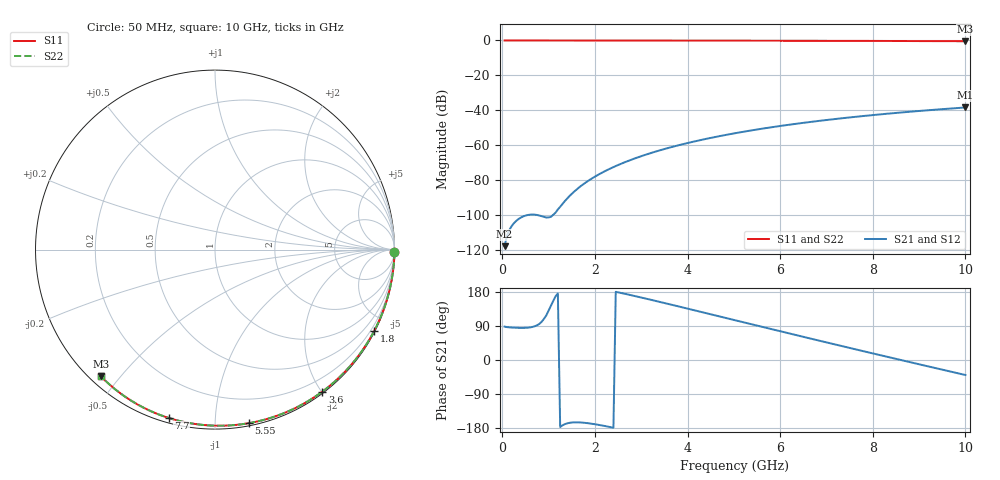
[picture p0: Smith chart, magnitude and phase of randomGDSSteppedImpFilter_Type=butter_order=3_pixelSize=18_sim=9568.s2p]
! freq	dB(S11)	phase(S11)	dB(S12)	phase(S12)
!  dB(S21)	phase(S21)	dB(S22)	phase(S22)
!S-par simulation data
#  GHz  S  DB  R 50
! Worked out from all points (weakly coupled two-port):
!   200 points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, 50 MHz to 10 GHz, reference 50 ohm
!   highest |S21| = -38.39 dB at 10 GHz (marker M1); lowest = -117.8 dB at 50 MHz (marker M2)
!   lowest |S11| = -0.4 dB at 10 GHz (marker M3), VSWR 39.00, Z = 1.54 - j22.3 ohm
!   |S11| at or under -10 dB: nowhere
!   |S22| runs from -0.4 to 0.0 dB; largest |S21 - S12| = 0
!   S11 on the Smith chart (normalised r, x): 50 MHz: open; 1.8 GHz: 0.04, -4.16; 3.6 GHz: 0.02, -2.01; 5.55 GHz: 0.02, -1.21; 7.7 GHz: 0.02, -0.76; 10 GHz: 0.03, -0.45
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0.05  -0.00 -0.8  -117.83 88.0  -117.83 88.0  -0.00 -0.8
0.9  -0.02 -13.6  -101.10 108.7  -101.10 108.7  -0.02 -13.6
1.75  -0.03 -26.3  -82.33 -165.4  -82.33 -165.4  -0.03 -26.3
1.8  -0.03 -27.0  -81.38 -166.1  -81.38 -166.1  -0.03 -27.0
1.85  -0.04 -27.8  -80.49 -166.8  -80.49 -166.8  -0.04 -27.8
1.9  -0.04 -28.5  -79.62 -167.6  -79.62 -167.6  -0.04 -28.5
2.05  -0.04 -30.7  -77.23 -170.5  -77.23 -170.5  -0.04 -30.7
2.25  -0.04 -33.6  -74.42 -175.0  -74.42 -175.0  -0.04 -33.6
2.45  -0.05 -36.5  -71.93 180.0  -71.93 180.0  -0.05 -36.5
2.65  -0.05 -39.4  -69.70 174.7  -69.70 174.7  -0.05 -39.4
3  -0.06 -44.4  -66.28 164.9  -66.28 164.9  -0.06 -44.4
3.4  -0.07 -50.1  -62.94 153.3  -62.94 153.3  -0.07 -50.1
3.6  -0.07 -52.9  -61.45 147.5  -61.45 147.5  -0.07 -52.9
4.3  -0.09 -62.5  -56.94 126.7  -56.94 126.7  -0.09 -62.5
5.05  -0.11 -72.5  -53.01 104.2  -53.01 104.2  -0.11 -72.5
5.55  -0.13 -79.0  -50.78 89.3  -50.78 89.3  -0.13 -79.0
6.1  -0.15 -85.9  -48.61 73.0  -48.61 73.0  -0.15 -85.9
6.7  -0.18 -93.4  -46.51 55.2  -46.51 55.2  -0.18 -93.4
7.7  -0.24 -105.4  -43.53 26.0  -43.53 26.0  -0.24 -105.4
8.35  -0.29 -113.1  -41.87 7.3  -41.87 7.3  -0.29 -113.1
9.15  -0.36 -122.3  -40.06 -15.5  -40.06 -15.5  -0.36 -122.3
10  -0.45 -131.9  -38.39 -39.6  -38.39 -39.6  -0.45 -131.9
